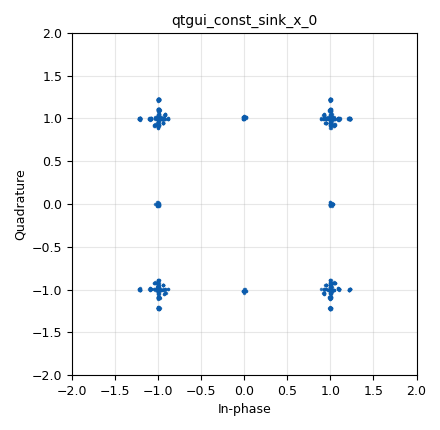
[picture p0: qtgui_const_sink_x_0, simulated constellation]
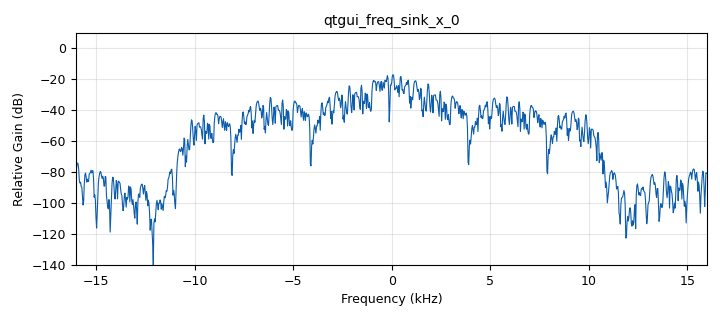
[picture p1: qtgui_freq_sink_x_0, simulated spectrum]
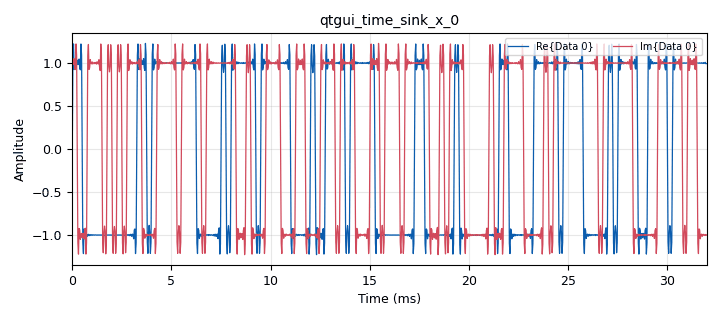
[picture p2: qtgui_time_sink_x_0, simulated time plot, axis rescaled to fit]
<?xml version='1.0' encoding='utf-8'?>
<?grc format='1' created='3.7.11'?>
<flow_graph>
<block>
<key>options</key>
<param><key>id</key><value>top_block</value></param>
<param><key>generate_options</key><value>qt_gui</value></param>
</block>
<block>
<key>variable_constellation</key>
<param><key>id</key><value>qpsk</value></param>
<param><key>const_points</key><value>[1j, -1, -1j, 1]</value></param>
<param><key>type</key><value>calcdist</value></param>
<param><key>dims</key><value>1</value></param>
<param><key>rot_sym</key><value>4</value></param>
<param><key>precision</key><value>0</value></param>
<param><key>sym_map</key><value>[0, 1, 3, 2]</value></param>
</block>
<block>
<key>variable</key>
<param><key>id</key><value>samp_rate</value></param>
<param><key>value</key><value>32000</value></param>
</block>
<block>
<key>blocks_throttle</key>
<param><key>id</key><value>blocks_throttle_0</value></param>
<param><key>samples_per_second</key><value>samp_rate</value></param>
<param><key>type</key><value>complex</value></param>
</block>
<block>
<key>channels_channel_model</key>
<param><key>id</key><value>channels_channel_model_0</value></param>
<param><key>epsilon</key><value>1.0</value></param>
<param><key>freq_offset</key><value>0.0</value></param>
<param><key>noise_voltage</key><value>0.0</value></param>
<param><key>seed</key><value>0</value></param>
<param><key>taps</key><value>1.0 + 1.0j</value></param>
</block>
<block>
<key>digital_constellation_modulator</key>
<param><key>id</key><value>digital_constellation_modulator_0</value></param>
<param><key>constellation</key><value>qpsk</value></param>
<param><key>differential</key><value>True</value></param>
<param><key>excess_bw</key><value>0.35</value></param>
<param><key>samples_per_symbol</key><value>2</value></param>
</block>
<block>
<key>qtgui_const_sink_x</key>
<param><key>id</key><value>qtgui_const_sink_x_0</value></param>
<param><key>size</key><value>1024</value></param>
<param><key>type</key><value>complex</value></param>
</block>
<block>
<key>qtgui_freq_sink_x</key>
<param><key>id</key><value>qtgui_freq_sink_x_0</value></param>
<param><key>bw</key><value>samp_rate</value></param>
<param><key>fc</key><value>0</value></param>
<param><key>fftsize</key><value>1024</value></param>
<param><key>showports</key><value>True</value></param>
<param><key>type</key><value>complex</value></param>
<param><key>wintype</key><value>firdes.WIN_BLACKMAN_hARRIS</value></param>
</block>
<block>
<key>qtgui_time_sink_x</key>
<param><key>id</key><value>qtgui_time_sink_x_0</value></param>
<param><key>color1</key><value>"blue"</value></param>
<param><key>label1</key><value></value></param>
<param><key>color2</key><value>"red"</value></param>
<param><key>label2</key><value></value></param>
<param><key>size</key><value>1024</value></param>
<param><key>srate</key><value>samp_rate</value></param>
<param><key>type</key><value>complex</value></param>
</block>
<block>
<key>analog_random_source_x</key>
<param><key>id</key><value>random_source</value></param>
<param><key>max</key><value>3</value></param>
<param><key>min</key><value>0</value></param>
<param><key>num_samps</key><value>1000</value></param>
<param><key>type</key><value>byte</value></param>
<param><key>repeat</key><value>True</value></param>
</block>
<connection><source_block_id>blocks_throttle_0</source_block_id><sink_block_id>channels_channel_model_0</sink_block_id><source_key>0</source_key><sink_key>0</sink_key></connection>
<connection><source_block_id>channels_channel_model_0</source_block_id><sink_block_id>qtgui_const_sink_x_0</sink_block_id><source_key>0</source_key><sink_key>0</sink_key></connection>
<connection><source_block_id>channels_channel_model_0</source_block_id><sink_block_id>qtgui_freq_sink_x_0</sink_block_id><source_key>0</source_key><sink_key>0</sink_key></connection>
<connection><source_block_id>channels_channel_model_0</source_block_id><sink_block_id>qtgui_time_sink_x_0</sink_block_id><source_key>0</source_key><sink_key>0</sink_key></connection>
<connection><source_block_id>digital_constellation_modulator_0</source_block_id><sink_block_id>blocks_throttle_0</sink_block_id><source_key>0</source_key><sink_key>0</sink_key></connection>
<connection><source_block_id>random_source</source_block_id><sink_block_id>digital_constellation_modulator_0</sink_block_id><source_key>0</source_key><sink_key>0</sink_key></connection>
</flow_graph>
